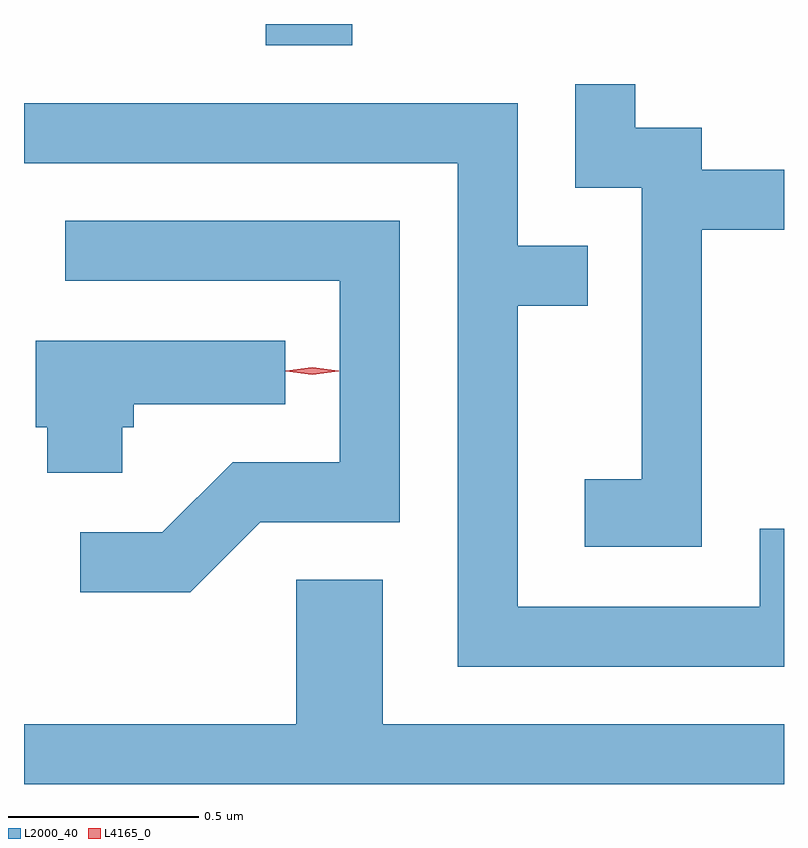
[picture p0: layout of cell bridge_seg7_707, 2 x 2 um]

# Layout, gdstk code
import gdstk
lib = gdstk.Library(unit=1e-6, precision=1e-09)
def R(c, l, rs):  # rectangles x0, y0, x1, y1
    for r in rs: c.add(gdstk.rectangle(r[:2], r[2:], *l))
def P(c, l, *ps):  # polygons
    for p in ps: c.add(gdstk.Polygon(p, *l))
L2000_40 = (2000, 40)
L4165_0 = (4165, 0)

bridge_seg7_707 = lib.new_cell('bridge_seg7_707')
R(bridge_seg7_707, L2000_40, [(961.791,1696.391,962.019,1696.447)])
P(bridge_seg7_707, L2000_40, [(962.939,1695.906),(963.155,1695.906),(963.155,1696.064),(962.939,1696.064),(962.939,1696.174),(962.764,1696.174),(962.764,1696.288),(962.606,1696.288),(962.606,1696.016),(962.781,1696.016),(962.781,1695.249),(962.631,1695.249),(962.631,1695.071),(962.939,1695.071)],
  [(963.155,1695.119),(963.091,1695.119),(963.091,1694.914),(962.454,1694.914),(962.454,1695.706),(962.638,1695.706),(962.638,1695.864),(962.454,1695.864),(962.454,1696.239),(961.155,1696.239),(961.155,1696.081),(962.296,1696.081),(962.296,1694.756),(963.155,1694.756)],
  [(961.777,1695.136),(962.144,1695.136),(962.144,1695.929),(961.263,1695.929),(961.263,1695.771),(961.986,1695.771),(961.986,1695.294),(961.704,1695.294),(961.519,1695.109),(961.303,1695.109),(961.303,1694.951),(961.592,1694.951)],
  [(961.414,1695.386),(961.444,1695.386),(961.444,1695.446),(961.843,1695.446),(961.843,1695.614),(961.186,1695.614),(961.186,1695.386),(961.216,1695.386),(961.216,1695.266),(961.414,1695.266)],
  [(963.155,1694.604),(962.099,1694.604),(962.099,1694.984),(961.871,1694.984),(961.871,1694.604),(961.155,1694.604),(961.155,1694.447),(963.155,1694.447)])
P(bridge_seg7_707, L4165_0, [(961.914,1695.524),(961.844,1695.533),(961.844,1695.534),(961.844,1695.534),(961.914,1695.544),(961.983,1695.534),(961.983,1695.534),(961.983,1695.533)],
  [(961.914,1695.524),(961.847,1695.533),(961.847,1695.534),(961.847,1695.534),(961.914,1695.544),(961.98,1695.534),(961.981,1695.534),(961.98,1695.533)])

lib.write_gds('bridge_seg7_707.gds')
